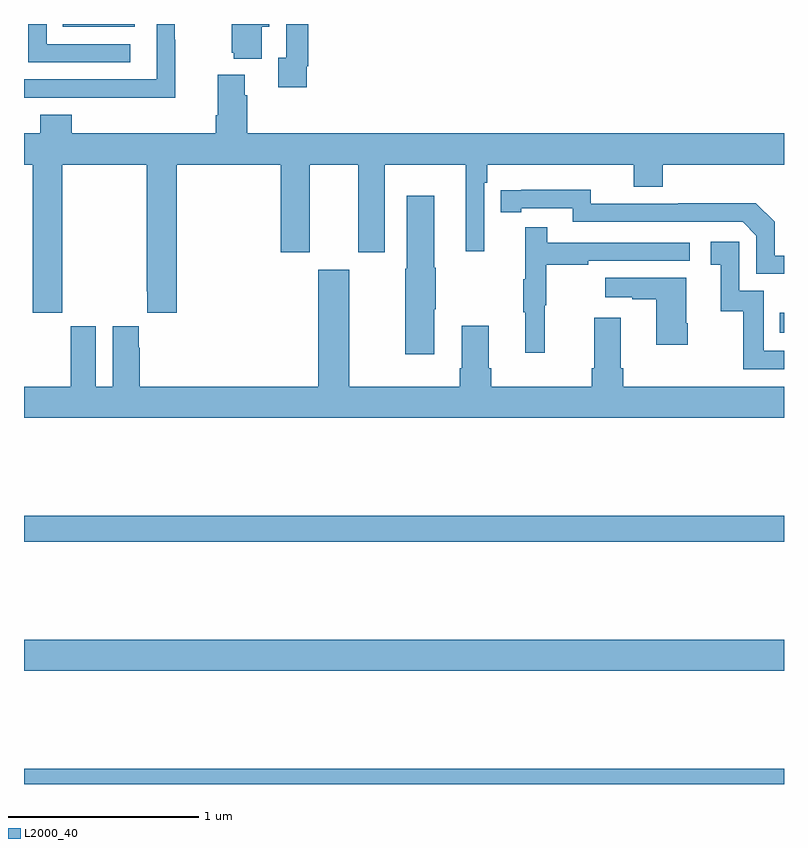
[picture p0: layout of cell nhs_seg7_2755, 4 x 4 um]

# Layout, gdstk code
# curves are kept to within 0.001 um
import gdstk
lib = gdstk.Library(unit=1e-6, precision=1e-09)
def R(c, l, rs):  # rectangles x0, y0, x1, y1
    for r in rs: c.add(gdstk.rectangle(r[:2], r[2:], *l))
def P(c, l, *ps):  # polygons
    for p in ps: c.add(gdstk.Polygon(p, *l))
L2000_40 = (2000, 40)

nhs_seg7_2755 = lib.new_cell('nhs_seg7_2755')
R(nhs_seg7_2755, L2000_40, [(289,1020,293,1020.08), (289,1020.596,293,1020.76), (289,1021.276,293,1021.412), (292.978,1022.376,293,1022.481), (289.204,1023.986,289.582,1024)])
P(nhs_seg7_2755, L2000_40, [(289.797,1023.917),(289.794,1023.917),(289.794,1024),(289.698,1024),(289.698,1023.708),(289,1023.708),(289,1023.612),(289.333,1023.612),(289.333,1023.611),(289.797,1023.611)],
  [(290.488,1023.778),(290.495,1023.778),(290.495,1024),(290.379,1024),(290.379,1023.822),(290.339,1023.822),(290.339,1023.666),(290.488,1023.666)],
  [(289.558,1023.894),(289.119,1023.894),(289.119,1024),(289.023,1024),(289.023,1023.798),(289.558,1023.798)],
  [(290.251,1023.986),(290.29,1023.986),(290.29,1024),(290.093,1024),(290.093,1023.849),(290.105,1023.849),(290.105,1023.818),(290.251,1023.818)],
  [(289.2,1023.26),(289.645,1023.26),(289.645,1022.593),(289.649,1022.593),(289.649,1022.481),(289.805,1022.481),(289.805,1023.26),(290.351,1023.26),(290.351,1022.799),(290.503,1022.799),(290.503,1023.26),(290.759,1023.26),(290.759,1022.799),(290.899,1022.799),(290.899,1023.26),(291.326,1023.26),(291.326,1022.805),(291.423,1022.805),(291.423,1023.164),(291.437,1023.164),(291.437,1023.26),(292.208,1023.26),(292.208,1023.143),(292.361,1023.143),(292.361,1023.26),(293,1023.26),(293,1023.424),(290.174,1023.424),(290.174,1023.626),(290.161,1023.626),(290.161,1023.733),(290.021,1023.733),(290.021,1023.52),(290.009,1023.52),(290.009,1023.424),(289.25,1023.424),(289.25,1023.523),(289.085,1023.523),(289.085,1023.424),(289,1023.424),(289,1023.26),(289.045,1023.26),(289.045,1022.481),(289.2,1022.481)],
  [(293,1022.781),(292.95,1022.781),(292.95,1022.958),(292.852,1023.056),(292.444,1023.056),(292.444,1023.054),(291.984,1023.054),(291.984,1023.127),(291.508,1023.126),(291.508,1023.01),(291.616,1023.01),(291.616,1023.03),(291.888,1023.03),(291.888,1022.958),(292.782,1022.958),(292.854,1022.886),(292.854,1022.685),(293,1022.685)],
  [(291.16,1022.5),(291.168,1022.5),(291.168,1022.717),(291.16,1022.717),(291.16,1023.097),(291.014,1023.097),(291.014,1022.711),(291.007,1022.711),(291.007,1022.262),(291.16,1022.262)],
  [(291.74,1022.52),(291.748,1022.52),(291.748,1022.734),(291.971,1022.734),(291.971,1022.754),(292.504,1022.754),(292.504,1022.85),(291.755,1022.85),(291.755,1022.929),(291.638,1022.929),(291.638,1022.657),(291.627,1022.657),(291.627,1022.483),(291.638,1022.483),(291.638,1022.271),(291.74,1022.271)],
  [(293,1022.28),(292.893,1022.28),(292.893,1022.595),(292.764,1022.595),(292.764,1022.854),(292.614,1022.854),(292.614,1022.733),(292.667,1022.733),(292.667,1022.487),(292.785,1022.487),(292.785,1022.184),(293,1022.184)],
  [(292.494,1022.425),(292.486,1022.425),(292.486,1022.665),(292.059,1022.665),(292.059,1022.561),(292.202,1022.561),(292.202,1022.551),(292.328,1022.551),(292.328,1022.313),(292.494,1022.313)],
  [(292.001,1022.455),(292.001,1022.188),(291.989,1022.188),(291.989,1022.092),(291.458,1022.092),(291.458,1022.188),(291.445,1022.188),(291.445,1022.413),(291.305,1022.413),(291.305,1022.188),(291.293,1022.188),(291.293,1022.092),(290.713,1022.092),(290.713,1022.707),(290.549,1022.707),(290.549,1022.092),(289.61,1022.092),(289.61,1022.297),(289.603,1022.297),(289.603,1022.41),(289.466,1022.41),(289.466,1022.092),(289.378,1022.092),(289.378,1022.41),(289.247,1022.41),(289.247,1022.092),(289,1022.092),(289,1021.928),(293,1021.928),(293,1022.092),(292.154,1022.092),(292.154,1022.188),(292.141,1022.188),(292.141,1022.455)])

lib.write_gds('nhs_seg7_2755.gds')
